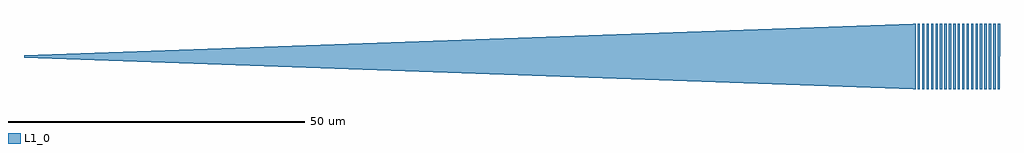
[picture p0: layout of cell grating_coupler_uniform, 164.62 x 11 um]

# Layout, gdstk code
import gdstk
lib = gdstk.Library(unit=1e-6, precision=1e-09)
def R(c, l, rs):  # rectangles x0, y0, x1, y1
    for r in rs: c.add(gdstk.rectangle(r[:2], r[2:], *l))
def A(c, l, x, y, w, h, nx, ny, dx, dy):  # array of equal rectangles
    R(c, l, [(x+i*dx, y+j*dy, x+i*dx+w, y+j*dy+h) for i in range(nx) for j in range(ny)])
def P(c, l, *ps):  # polygons
    for p in ps: c.add(gdstk.Polygon(p, *l))
L1_0 = (1, 0)

grating_coupler_uniform = lib.new_cell('grating_coupler_uniform')
A(grating_coupler_uniform, L1_0, -14.437, -5.5, 0.375, 11, 9, 1, 0.75, 0)
P(grating_coupler_uniform, L1_0, [(-0.188,-5.5),(-0.187,5.5),(0.188,5.5),(0.187,-5.5)],
  [(-0.938,-5.5),(-0.937,5.5),(-0.562,5.5),(-0.563,-5.5)],
  [(-1.688,-5.5),(-1.687,5.5),(-1.312,5.5),(-1.313,-5.5)],
  [(-2.438,-5.5),(-2.437,5.5),(-2.062,5.5),(-2.063,-5.5)],
  [(-3.188,-5.5),(-3.187,5.5),(-2.812,5.5),(-2.813,-5.5)],
  [(-3.938,-5.5),(-3.937,5.5),(-3.562,5.5),(-3.563,-5.5)],
  [(-4.688,-5.5),(-4.687,5.5),(-4.312,5.5),(-4.312,-5.5)],
  [(-5.438,-5.5),(-5.437,5.5),(-5.062,5.5),(-5.062,-5.5)],
  [(-6.188,-5.5),(-6.187,5.5),(-5.812,5.5),(-5.812,-5.5)],
  [(-6.938,-5.5),(-6.937,5.5),(-6.562,5.5),(-6.562,-5.5)],
  [(-7.688,-5.5),(-7.687,5.5),(-7.312,5.5),(-7.312,-5.5)],
  [(-14.437,-5.5),(-164.437,-0.25),(-164.437,0.25),(-14.437,5.5)])

lib.write_gds('grating_coupler_uniform.gds')
